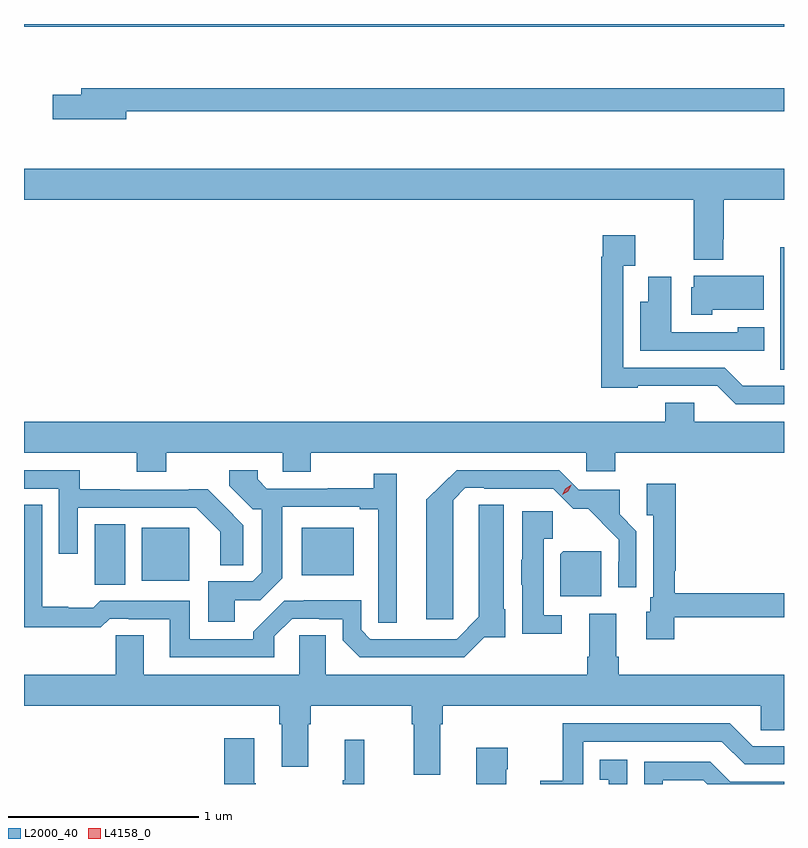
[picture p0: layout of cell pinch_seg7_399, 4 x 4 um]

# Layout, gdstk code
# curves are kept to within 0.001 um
import gdstk
lib = gdstk.Library(unit=1e-6, precision=1e-09)
def R(c, l, rs):  # rectangles x0, y0, x1, y1
    for r in rs: c.add(gdstk.rectangle(r[:2], r[2:], *l))
def P(c, l, *ps):  # polygons
    for p in ps: c.add(gdstk.Polygon(p, *l))
L2000_40 = (2000, 40)
L4158_0 = (4158, 0)

pinch_seg7_399 = lib.new_cell('pinch_seg7_399')
R(pinch_seg7_399, L2000_40, [(540.959,1017.238,541.12,1017.557), (541.208,1017.26,541.456,1017.538), (542.048,1017.287,542.323,1017.538), (544.568,1018.369,544.587,1019.014), (540.587,1020.174,544.587,1020.189)])
P(pinch_seg7_399, L2000_40, [(541.126,1019.73),(544.587,1019.73),(544.587,1019.851),(540.887,1019.851),(540.887,1019.817),(540.738,1019.817),(540.738,1019.687),(541.126,1019.687)],
  [(544.266,1019.056),(544.271,1019.056),(544.271,1019.264),(544.587,1019.264),(544.587,1019.428),(540.587,1019.428),(540.587,1019.264),(544.111,1019.264),(544.111,1018.949),(544.266,1018.949)],
  [(544.587,1018.284),(544.474,1018.284),(544.474,1018.286),(544.37,1018.286),(544.275,1018.38),(543.741,1018.38),(543.741,1018.916),(543.805,1018.916),(543.805,1019.077),(543.633,1019.077),(543.633,1018.964),(543.625,1018.964),(543.625,1018.274),(543.816,1018.274),(543.816,1018.284),(544.236,1018.284),(544.332,1018.188),(544.587,1018.188)],
  [(544.209,1018.685),(544.48,1018.685),(544.48,1018.864),(544.112,1018.864),(544.112,1018.803),(544.1,1018.803),(544.1,1018.658),(544.209,1018.658)],
  [(544.483,1018.594),(544.344,1018.594),(544.344,1018.566),(543.994,1018.566),(543.994,1018.858),(543.872,1018.858),(543.872,1018.726),(543.83,1018.726),(543.83,1018.47),(544.483,1018.47)],
  [(541.335,1017.932),(541.949,1017.932),(541.949,1017.833),(542.097,1017.833),(542.097,1017.932),(543.546,1017.932),(543.546,1017.834),(543.698,1017.834),(543.698,1017.932),(544.587,1017.932),(544.587,1018.096),(544.114,1018.096),(544.114,1018.195),(543.962,1018.195),(543.962,1018.096),(540.587,1018.096),(540.587,1017.932),(541.18,1017.932),(541.18,1017.833),(541.335,1017.833)],
  [(541.74,1017.452),(541.741,1017.552),(541.555,1017.74),(541.454,1017.74),(541.454,1017.738),(541.091,1017.738),(541.091,1017.74),(540.88,1017.74),(540.88,1017.84),(540.587,1017.84),(540.587,1017.744),(540.77,1017.744),(540.77,1017.402),(540.871,1017.402),(540.871,1017.642),(541.494,1017.642),(541.62,1017.516),(541.62,1017.341),(541.74,1017.341)],
  [(542.845,1017.578),(542.846,1017.683),(542.91,1017.747),(543.01,1017.747),(543.01,1017.744),(543.372,1017.744),(543.478,1017.638),(543.557,1017.638),(543.63,1017.565),(543.628,1017.563),(543.717,1017.474),(543.717,1017.359),(543.714,1017.359),(543.714,1017.225),(543.81,1017.225),(543.81,1017.52),(543.722,1017.609),(543.722,1017.738),(543.507,1017.738),(543.405,1017.84),(542.864,1017.84),(542.786,1017.763),(542.785,1017.764),(542.708,1017.687),(542.705,1017.687),(542.705,1017.057),(542.845,1017.057)],
  [(542.548,1017.823),(542.428,1017.823),(542.428,1017.746),(542.185,1017.746),(542.185,1017.744),(541.864,1017.744),(541.816,1017.793),(541.816,1017.84),(541.668,1017.84),(541.668,1017.759),(541.792,1017.636),(541.838,1017.636),(541.839,1017.303),(541.791,1017.255),(541.556,1017.255),(541.556,1017.042),(541.696,1017.042),(541.696,1017.156),(541.83,1017.156),(541.945,1017.271),(541.945,1017.648),(542.354,1017.648),(542.354,1017.636),(542.451,1017.636),(542.451,1017.037),(542.548,1017.037)],
  [(544.01,1017.066),(544.587,1017.066),(544.587,1017.194),(544.012,1017.194),(544.012,1017.312),(544.018,1017.312),(544.018,1017.769),(543.864,1017.769),(543.864,1017.603),(543.9,1017.603),(543.9,1017.171),(543.884,1017.171),(543.884,1017.096),(543.863,1017.096),(543.863,1016.952),(544.01,1016.952)],
  [(541.904,1016.966),(541.998,1017.06),(542.14,1017.06),(542.14,1017.057),(542.265,1017.057),(542.265,1016.946),(542.355,1016.856),(542.905,1016.856),(543.01,1016.961),(543.121,1016.961),(543.121,1017.108),(543.112,1017.108),(543.112,1017.659),(542.981,1017.659),(542.981,1017.068),(542.865,1016.952),(542.409,1016.952),(542.361,1017),(542.361,1017.155),(542.059,1017.155),(542.059,1017.153),(541.956,1017.153),(541.794,1016.991),(541.794,1016.952),(541.459,1016.952),(541.459,1017.153),(540.988,1017.153),(540.952,1017.117),(540.821,1017.117),(540.821,1017.121),(540.682,1017.121),(540.682,1017.659),(540.587,1017.659),(540.587,1017.014),(540.992,1017.014),(541.038,1017.06),(541.138,1017.06),(541.138,1017.057),(541.355,1017.057),(541.355,1016.856),(541.904,1016.856)],
  [(543.418,1017.078),(543.322,1017.078),(543.322,1017.48),(543.37,1017.48),(543.37,1017.625),(543.209,1017.625),(543.209,1017.369),(543.203,1017.369),(543.203,1017.237),(543.209,1017.237),(543.209,1016.981),(543.418,1016.981)],
  [(543.625,1017.415),(543.426,1017.415),(543.41,1017.399),(543.41,1017.176),(543.625,1017.176)],
  [(544.464,1016.473),(544.587,1016.473),(544.587,1016.764),(543.716,1016.764),(543.716,1016.86),(543.703,1016.86),(543.703,1017.085),(543.563,1017.085),(543.563,1016.86),(543.551,1016.86),(543.551,1016.764),(542.176,1016.764),(542.176,1016.972),(542.036,1016.972),(542.036,1016.764),(541.216,1016.764),(541.216,1016.972),(541.07,1016.972),(541.07,1016.764),(540.587,1016.764),(540.587,1016.6),(541.931,1016.6),(541.931,1016.504),(541.943,1016.504),(541.943,1016.28),(542.083,1016.28),(542.083,1016.504),(542.096,1016.504),(542.096,1016.6),(542.627,1016.6),(542.627,1016.504),(542.639,1016.504),(542.639,1016.238),(542.779,1016.238),(542.779,1016.504),(542.792,1016.504),(542.792,1016.6),(544.464,1016.6)],
  [(543.531,1016.412),(544.26,1016.412),(544.38,1016.292),(544.587,1016.292),(544.587,1016.388),(544.422,1016.388),(544.302,1016.508),(543.423,1016.508),(543.423,1016.206),(543.305,1016.206),(543.305,1016.189),(543.531,1016.189)],
  [(541.806,1016.192),(541.798,1016.192),(541.798,1016.431),(541.64,1016.431),(541.64,1016.189),(541.806,1016.189)],
  [(542.378,1016.422),(542.276,1016.422),(542.276,1016.209),(542.265,1016.209),(542.265,1016.189),(542.378,1016.189)],
  [(543.124,1016.267),(543.132,1016.267),(543.132,1016.38),(542.966,1016.38),(542.966,1016.189),(543.124,1016.189)],
  [(543.762,1016.317),(543.616,1016.317),(543.616,1016.211),(543.665,1016.211),(543.665,1016.189),(543.762,1016.189)],
  [(543.948,1016.21),(544.162,1016.21),(544.183,1016.189),(544.587,1016.189),(544.587,1016.202),(544.303,1016.202),(544.198,1016.307),(543.852,1016.307),(543.852,1016.189),(543.948,1016.189)])
P(pinch_seg7_399, L4158_0, [(543.421,1017.711),(543.421,1017.711),(543.436,1017.744),(543.466,1017.764),(543.466,1017.764),(543.466,1017.763),(543.451,1017.731),(543.421,1017.711)])

lib.write_gds('pinch_seg7_399.gds')
